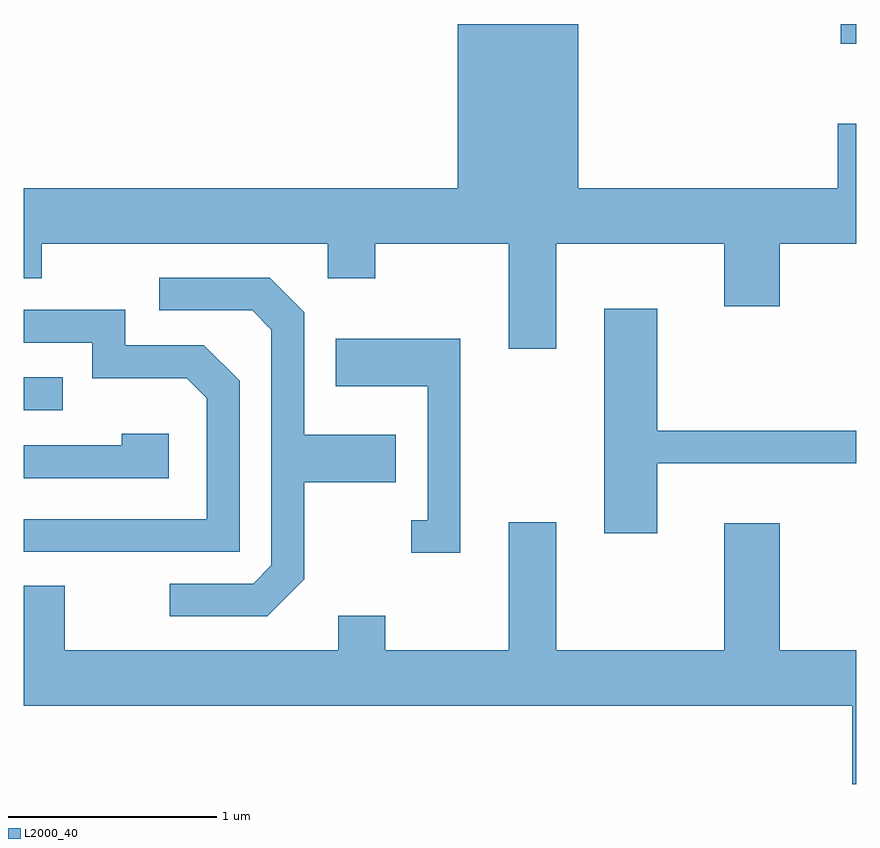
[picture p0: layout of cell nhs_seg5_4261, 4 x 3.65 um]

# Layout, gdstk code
import gdstk
lib = gdstk.Library(unit=1e-6, precision=1e-09)
def R(c, l, rs):  # rectangles x0, y0, x1, y1
    for r in rs: c.add(gdstk.rectangle(r[:2], r[2:], *l))
def P(c, l, *ps):  # polygons
    for p in ps: c.add(gdstk.Polygon(p, *l))
L2000_40 = (2000, 40)

nhs_seg5_4261 = lib.new_cell('nhs_seg5_4261')
R(nhs_seg5_4261, L2000_40, [(311.611,1458.216,311.798,1458.374), (315.536,1459.976,315.611,1460.072)])
P(nhs_seg5_4261, L2000_40, [(314.169,1459.016),(314.976,1459.016),(314.976,1458.716),(315.244,1458.716),(315.244,1459.016),(315.611,1459.016),(315.611,1459.594),(315.521,1459.594),(315.521,1459.284),(314.274,1459.284),(314.274,1460.072),(313.696,1460.072),(313.696,1459.284),(311.611,1459.284),(311.611,1458.851),(311.699,1458.851),(311.699,1459.016),(313.071,1459.016),(313.071,1458.851),(313.299,1458.851),(313.299,1459.016),(313.941,1459.016),(313.941,1458.511),(314.169,1458.511)],
  [(312.959,1457.404),(312.959,1457.871),(313.399,1457.871),(313.399,1458.099),(312.959,1458.099),(312.959,1458.687),(312.792,1458.854),(312.263,1458.854),(312.263,1458.696),(312.709,1458.696),(312.801,1458.604),(312.801,1457.472),(312.714,1457.384),(312.313,1457.384),(312.313,1457.226),(312.782,1457.226)],
  [(314.654,1457.961),(315.611,1457.961),(315.611,1458.119),(314.654,1458.119),(314.654,1458.704),(314.401,1458.704),(314.401,1457.626),(314.654,1457.626)],
  [(312.649,1458.357),(312.477,1458.529),(312.099,1458.529),(312.099,1458.699),(311.611,1458.699),(311.611,1458.541),(311.941,1458.541),(311.941,1458.371),(312.394,1458.371),(312.491,1458.274),(312.491,1457.694),(311.611,1457.694),(311.611,1457.536),(312.649,1457.536)],
  [(313.709,1458.559),(313.111,1458.559),(313.111,1458.331),(313.551,1458.331),(313.551,1457.689),(313.473,1457.689),(313.473,1457.531),(313.709,1457.531)],
  [(312.309,1458.104),(312.081,1458.104),(312.081,1458.049),(311.611,1458.049),(311.611,1457.891),(312.309,1457.891)],
  [(315.611,1457.064),(315.244,1457.064),(315.244,1457.674),(314.976,1457.674),(314.976,1457.064),(314.169,1457.064),(314.169,1457.679),(313.941,1457.679),(313.941,1457.064),(313.349,1457.064),(313.349,1457.229),(313.121,1457.229),(313.121,1457.064),(311.809,1457.064),(311.809,1457.374),(311.611,1457.374),(311.611,1456.796),(315.591,1456.796),(315.591,1456.421),(315.611,1456.421)])

lib.write_gds('nhs_seg5_4261.gds')
